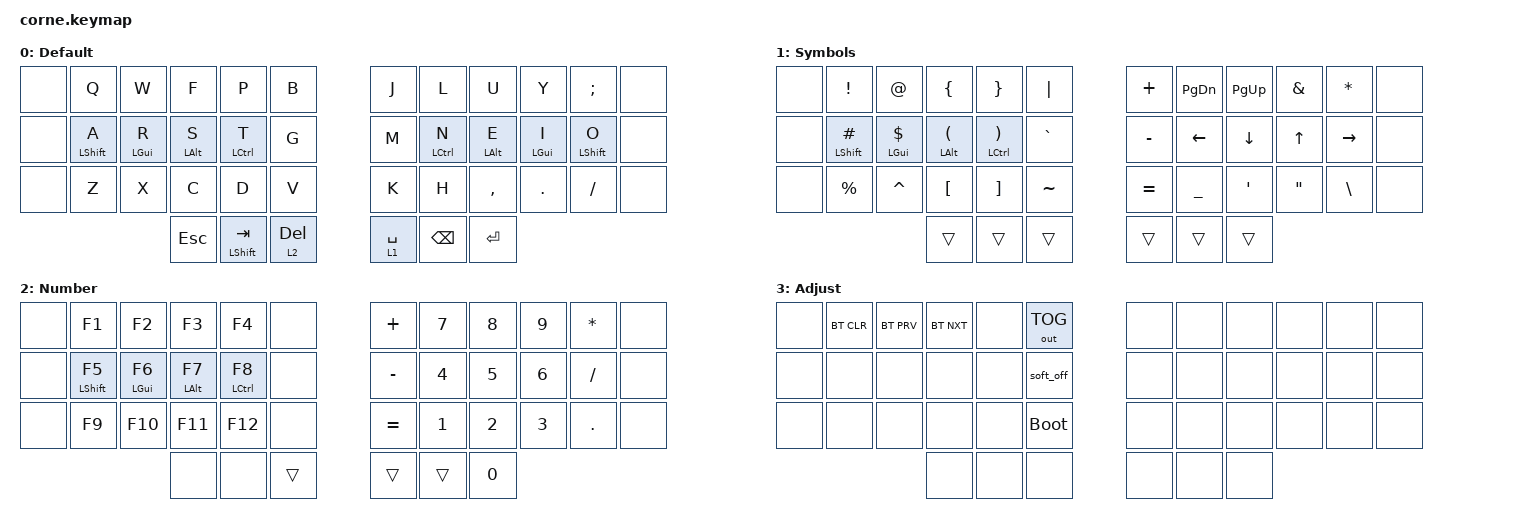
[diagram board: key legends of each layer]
/*
 * Copyright (c) 2020 The ZMK Contributors
 *
 * SPDX-License-Identifier: MIT
 */

#include "behaviors.dtsi"
#include <behaviors.dtsi>
#include <dt-bindings/zmk/bt.h>
#include <dt-bindings/zmk/keys.h>
#include <dt-bindings/zmk/outputs.h>

/*
 * Chocofi (3x5+3) built on the 42-position Corne matrix.
 * Matrix columns 0 and 11 have no physical key, hence the &none padding.
 *
 * Key positions                          Fingers
 *   0  1  2  3  4  5 |  6  7  8  9 10 11   cols 1/10 pinky   2/9 ring   3/8 middle
 *  12 13 14 15 16 17 | 18 19 20 21 22 23   cols 4/7  index   5/6 index (inner stretch)
 *  24 25 26 27 28 29 | 30 31 32 33 34 35   thumbs 36/41 outer  37/40 middle  38/39 inner
 *        36 37 38    | 39 40 41
 *
 * Layer keys: SPACE (left thumb, 38, innermost) holds Number; DELETE (right
 * thumb, 39, innermost) holds Symbols. Holding both together (tri-layer,
 * below) reaches Adjust. Backspace stays centered on the right thumb (40).
 */

/ {
    conditional_layers {
        compatible = "zmk,conditional-layers";
        tri_layer {
            if-layers = <1 2>;
            then-layer = <3>;
        };
    };

    keymap {
        compatible = "zmk,keymap";

        default_layer {
            display-name = "Default";

            bindings = <
&none  &kp Q        &kp W        &kp F         &kp P         &kp B      &kp J                  &kp L            &kp U         &kp Y        &kp SEMICOLON  &none
&none  &hml LSHFT A &hml LGUI R  &hml LALT S   &hml LCTRL T  &kp G      &kp M                  &hmr LCTRL N     &hmr LALT E   &hmr LGUI I  &hmr LSHFT O    &none
&none  &kp Z        &kp X        &kp C         &kp D         &kp V      &kp K                  &kp H            &kp COMMA     &kp DOT      &kp FSLH       &none
                                 &kp ESC       &mt LEFT_SHIFT TAB     &lt 2 DELETE  &lt 1 SPACE   &kp BACKSPACE    &kp RETURN
            >;
        };

        symbols_layer {
            display-name = "Symbols";

            bindings = <
&none  &kp EXCL     &kp AT      &kp LEFT_BRACE  &kp RIGHT_BRACE        &kp PIPE     &kp PLUS   &kp PG_DN       &kp PG_UP  &kp AMPS           &kp STAR       &none
&none  &hml LSHFT POUND &hml LGUI DOLLAR &hml LALT LPAR &hml LCTRL RIGHT_PARENTHESIS &kp GRAVE    &kp MINUS  &kp LEFT        &kp DOWN   &kp UP             &kp RIGHT      &none
&none  &kp PERCENT  &kp CARET   &kp LBKT        &kp RBKT               &kp TILDE    &kp EQUAL  &kp UNDERSCORE  &kp APOS   &kp DOUBLE_QUOTES  &kp BACKSLASH  &none
                                &trans          &trans                 &trans       &trans     &trans          &trans
            >;
        };

        number_layer {
            display-name = "Number";
            bindings = <
&none  &kp F1  &kp F2   &kp F3   &kp F4   &none    &kp PLUS   &kp N7  &kp N8  &kp N9  &kp STAR  &none
&none  &hml LSHFT F5 &hml LGUI F6 &hml LALT F7 &hml LCTRL F8 &none    &kp MINUS  &kp N4  &kp N5  &kp N6  &kp FSLH  &none
&none  &kp F9  &kp F10  &kp F11  &kp F12  &none    &kp EQUAL  &kp N1  &kp N2  &kp N3  &kp DOT   &none
                &none   &none    &trans   &trans   &trans     &kp N0
            >;
        };

        adjust_layer {
            display-name = "Adjust";
            bindings = <
&none  &bt BT_CLR  &bt BT_PRV  &bt BT_NXT  &none  &out OUT_TOG  &none  &none  &none  &none  &none  &none
&none  &none       &none       &none       &none  &soft_off     &none  &none  &none  &none  &none  &none
&none  &none       &none       &none       &none  &bootloader   &none  &none  &none  &none  &none  &none
                    &none       &none       &none  &none         &none  &none
            >;
        };
    };
};
